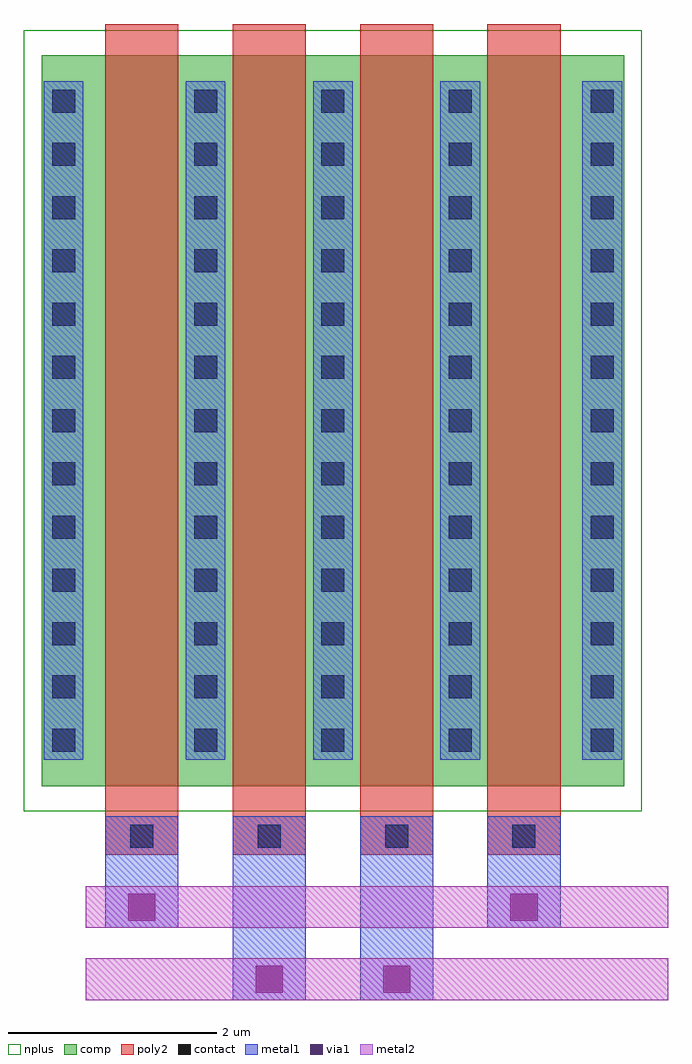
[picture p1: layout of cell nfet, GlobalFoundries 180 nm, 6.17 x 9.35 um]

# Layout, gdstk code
import gdstk
lib = gdstk.Library(unit=1e-6, precision=1e-09)
def R(c, l, rs):  # rectangles x0, y0, x1, y1
    for r in rs: c.add(gdstk.rectangle(r[:2], r[2:], *l))
def A(c, l, x, y, w, h, nx, ny, dx, dy):  # array of equal rectangles
    R(c, l, [(x+i*dx, y+j*dy, x+i*dx+w, y+j*dy+h) for i in range(nx) for j in range(ny)])
comp = (22, 0)
poly2 = (30, 0)
nplus = (32, 0)
contact = (33, 0)
metal1 = (34, 0)
via1 = (35, 0)
metal2 = (36, 0)

nfet = lib.new_cell('nfet')
R(nfet, comp, [(-0.42,0,5.16,7)])
A(nfet, poly2, 0.19, -0.66, 0.7, 7.96, 4, 1, 1.22, 0)
R(nfet, nplus, [(-0.59,-0.24,5.33,7.24)])
A(nfet, contact, 0.43, -0.59, 0.22, 0.22, 4, 1, 1.22, 0)
A(nfet, contact, -0.32, 0.33, 0.22, 0.22, 1, 13, 0, 0.51)
A(nfet, contact, 1.04, 0.33, 0.22, 0.22, 3, 13, 1.22, 0.51)
A(nfet, contact, 4.84, 0.33, 0.22, 0.22, 1, 13, 0, 0.51)
A(nfet, metal1, 0.96, 0.25, 0.38, 6.5, 3, 1, 1.22, 0)
R(nfet, metal1, [(1.41,-2.05,2.11,-0.29), (2.63,-2.05,3.33,-0.29), (0.19,-1.36,0.89,-0.29), (3.85,-1.36,4.55,-0.29), (-0.4,0.25,-0.02,6.75), (4.76,0.25,5.14,6.75)])
R(nfet, via1, [(1.63,-1.98,1.89,-1.72), (2.85,-1.98,3.11,-1.72), (0.41,-1.29,0.67,-1.03), (4.07,-1.29,4.33,-1.03)])
R(nfet, metal2, [(0,-2.05,5.58,-1.65), (0,-1.36,5.58,-0.96)])

lib.write_gds('nfet.gds')
